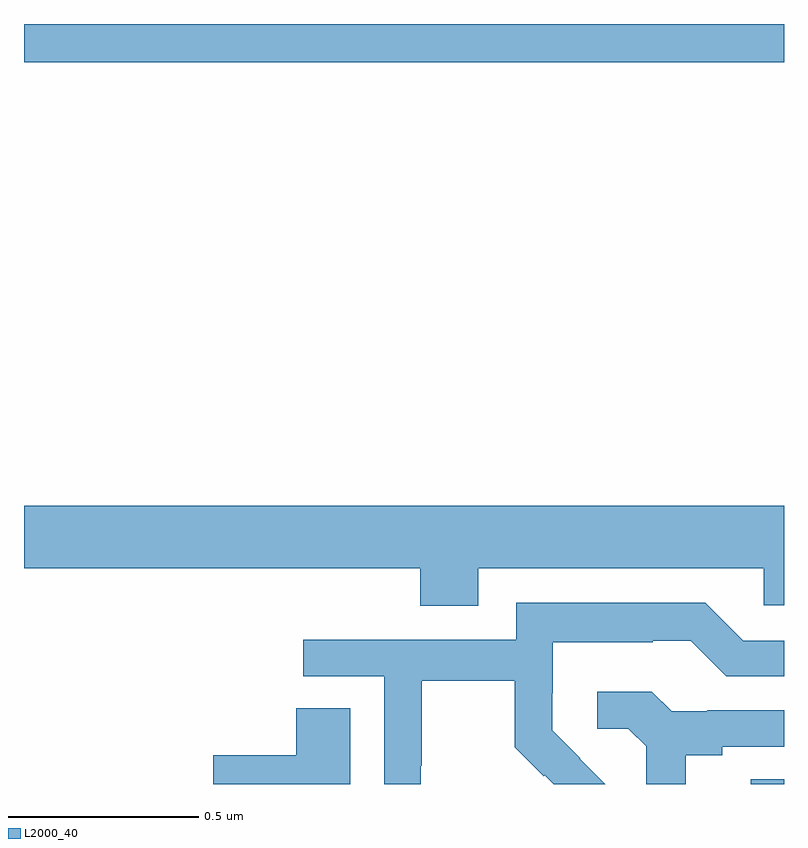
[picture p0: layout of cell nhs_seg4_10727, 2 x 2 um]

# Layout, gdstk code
import gdstk
lib = gdstk.Library(unit=1e-6, precision=1e-09)
def R(c, l, rs):  # rectangles x0, y0, x1, y1
    for r in rs: c.add(gdstk.rectangle(r[:2], r[2:], *l))
def P(c, l, *ps):  # polygons
    for p in ps: c.add(gdstk.Polygon(p, *l))
L2000_40 = (2000, 40)

nhs_seg4_10727 = lib.new_cell('nhs_seg4_10727')
R(nhs_seg4_10727, L2000_40, [(244.913,814.9,245,814.913), (243,816.8,245,816.9)])
P(nhs_seg4_10727, L2000_40, [(244.195,815.468),(244.947,815.468),(244.947,815.37),(245,815.37),(245,815.632),(243,815.632),(243,815.468),(244.043,815.468),(244.043,815.369),(244.195,815.369)],
  [(244.044,814.948),(244.047,814.948),(244.047,815.172),(244.291,815.172),(244.291,814.997),(244.368,814.92),(244.371,814.923),(244.394,814.9),(244.53,814.9),(244.463,814.967),(244.464,814.968),(244.39,815.042),(244.39,815.139),(244.392,815.139),(244.392,815.273),(244.655,815.273),(244.655,815.277),(244.755,815.277),(244.848,815.184),(245,815.184),(245,815.277),(244.893,815.277),(244.793,815.377),(244.296,815.377),(244.296,815.28),(243.735,815.28),(243.735,815.184),(243.948,815.184),(243.948,814.9),(244.044,814.9)],
  [(244.741,814.976),(244.837,814.976),(244.837,814.998),(245,814.998),(245,815.094),(244.798,815.094),(244.798,815.091),(244.704,815.091),(244.652,815.143),(244.509,815.143),(244.509,815.046),(244.59,815.046),(244.637,814.999),(244.637,814.9),(244.741,814.9)],
  [(243.859,815.099),(243.716,815.099),(243.716,814.976),(243.498,814.976),(243.498,814.9),(243.859,814.9)])

lib.write_gds('nhs_seg4_10727.gds')
